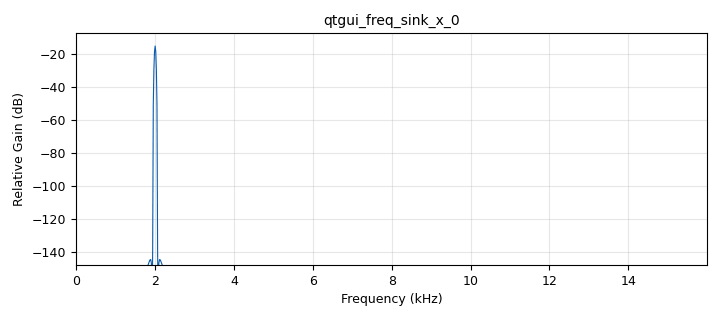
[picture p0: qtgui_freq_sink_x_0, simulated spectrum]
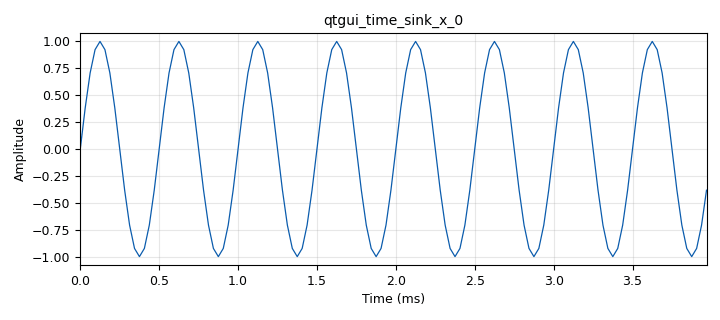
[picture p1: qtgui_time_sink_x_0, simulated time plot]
options:
  parameters:
    author: Barry Duggan
    copyright: '2020'
    description: Sample Rate Demo
    generate_options: qt_gui
    id: SRDemo2
    output_language: python
    title: Sample Rate Demo 2
  states: {}

blocks:
- name: freq
  id: variable_qtgui_range
  parameters:
    label: Frequency
    orient: Qt.Horizontal
    rangeType: int
    start: '1000'
    step: '1000'
    stop: '40000'
    value: '2000'
  states: {}
- name: samp_rate
  id: variable
  parameters:
    value: '32000'
  states: {}
- name: analog_sig_source_x_0
  id: analog_sig_source_x
  parameters:
    amp: '1'
    freq: '2000'
    offset: '0'
    phase: '0'
    samp_rate: samp_rate
    type: float
    waveform: analog.GR_SIN_WAVE
  states: {}
- name: blocks_throttle_0
  id: blocks_throttle
  parameters:
    samples_per_second: samp_rate
    type: float
  states: {}
- name: qtgui_freq_sink_x_0
  id: qtgui_freq_sink_x
  parameters:
    autoscale: 'True'
    bw: samp_rate
    fc: '0'
    fftsize: '2048'
    freqhalf: 'False'
    type: float
    wintype: firdes.WIN_BLACKMAN_hARRIS
  states: {}
- name: qtgui_time_sink_x_0
  id: qtgui_time_sink_x
  parameters:
    size: '128'
    srate: samp_rate
    type: float
  states: {}

connections:
- [analog_sig_source_x_0, '0', blocks_throttle_0, '0']
- [blocks_throttle_0, '0', qtgui_freq_sink_x_0, '0']
- [blocks_throttle_0, '0', qtgui_time_sink_x_0, '0']

metadata:
  file_format: 1
